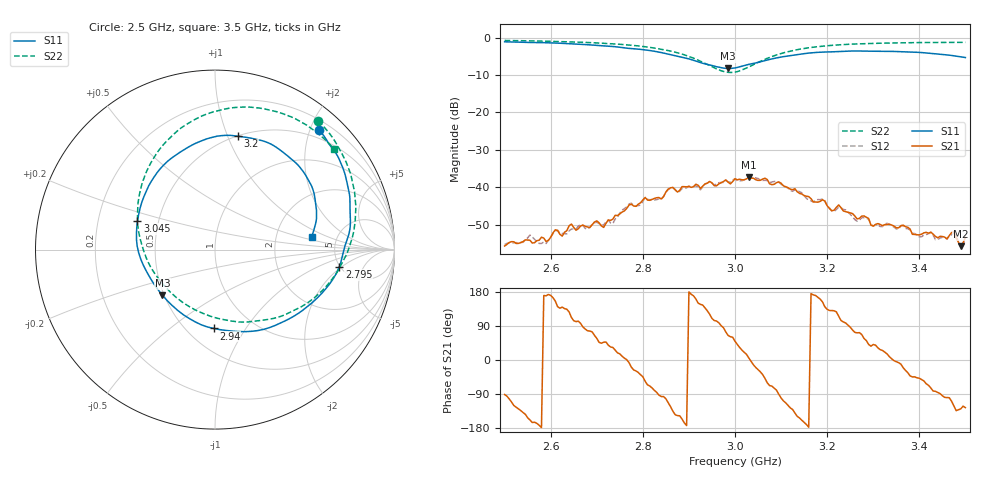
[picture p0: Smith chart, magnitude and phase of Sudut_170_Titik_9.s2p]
# Hz S RI R 50
! CMT, C1220, 16058040, 17.2.0/1
! Date: 15/08/2018 09:48:26
! Data: Format (Calibration Info)
! Freq  S11: Re/Im (F2)  S21: Re/Im (F2)  S12: Re/Im (F2)  S22: Re/Im (F2)
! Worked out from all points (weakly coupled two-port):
!   201 points, 2.5 GHz to 3.5 GHz, reference 50 ohm
!   highest |S21| = -37.35 dB at 3.03 GHz (marker M1); lowest = -55.8 dB at 3.49 GHz (marker M2)
!   lowest |S11| = -8.2 dB at 2.985 GHz (marker M3), VSWR 2.27, Z = 24.5 - j14.7 ohm
!   |S11| at or under -10 dB: nowhere
!   |S22| runs from -9.3 to -0.7 dB; largest |S21 - S12| = 0.0011
!   S11 on the Smith chart (normalised r, x): 2.5 GHz: 0.35, +2.14; 2.795 GHz: 4.92, -1.85; 2.94 GHz: 0.67, -0.73; 3.045 GHz: 0.38, +0.15; 3.2 GHz: 0.50, +1.09; 3.5 GHz: 3.23, +0.66
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2.5e9  0.5773 0.6676  -3.3e-05 -0.00163  1.14e-05 -0.00171  0.5752 0.718
2.555e9  0.6414 0.58  -0.00181 -0.000724  -0.00211 -0.000902  0.6364 0.6492
2.59e9  0.6861 0.5155  -0.00185 0.000347  -0.00175 0.000212  0.6728 0.5962
2.61e9  0.7033 0.4766  -0.00245 0.00112  -0.00237 0.00107  0.6927 0.5621
2.625e9  0.7175 0.441  -0.00169 0.00144  -0.00171 0.00169  0.7066 0.5358
2.67e9  0.7464 0.3253  0.000159 0.00311  0.000338 0.00305  0.7475 0.4445
2.715e9  0.7533 0.191  0.00198 0.00212  0.00212 0.00228  0.7755 0.3341
2.795e9  0.6924 -0.0964  0.00483 -0.00388  0.00446 -0.00367  0.7676 0.0775
2.835e9  0.5943 -0.2442  -0.000346 -0.00726  -0.000167 -0.00699  0.706 -0.0787
2.94e9  -0.00627 -0.4396  -0.00724 0.00871  -0.00745 0.0086  0.1742 -0.4039
2.985e9  -0.2926 -0.2545  0.00497 0.0106  0.00461 0.0109  -0.1809 -0.2936
3e9  -0.3627 -0.155  0.00847 0.00986  0.00899 0.00938  -0.2799 -0.2039
3.03e9  -0.4373 0.0539  0.0135 0.00123  0.0133 0.00131  -0.4057 0.0197
3.045e9  -0.4319 0.1593  0.0119 -0.00424  0.0126 -0.00427  -0.4311 0.1403
3.105e9  -0.2629 0.4931  -0.00319 -0.00995  -0.00342 -0.00965  -0.3245 0.5374
3.17e9  0.0119 0.632  -0.00629 0.000904  -0.00632 0.000381  -0.0712 0.7451
3.2e9  0.1266 0.6317  -0.00391 0.00407  -0.00377 0.00434  0.0422 0.7802
3.335e9  0.4789 0.4513  0.00315 0.000489  0.0032 0.000323  0.4174 0.7421
3.435e9  0.5644 0.2332  0.000279 -0.00218  0.000232 -0.00197  0.5868 0.6364
3.475e9  0.5576 0.1336  -0.00132 -0.00217  -0.00117 -0.00215  0.6367 0.5895
3.49e9  0.5468 0.0955  -0.00102 -0.00127  -0.00115 -0.00128  0.6538 0.5706
3.5e9  0.5387 0.0719  -0.00124 -0.00173  -0.00124 -0.00145  0.6652 0.5579
